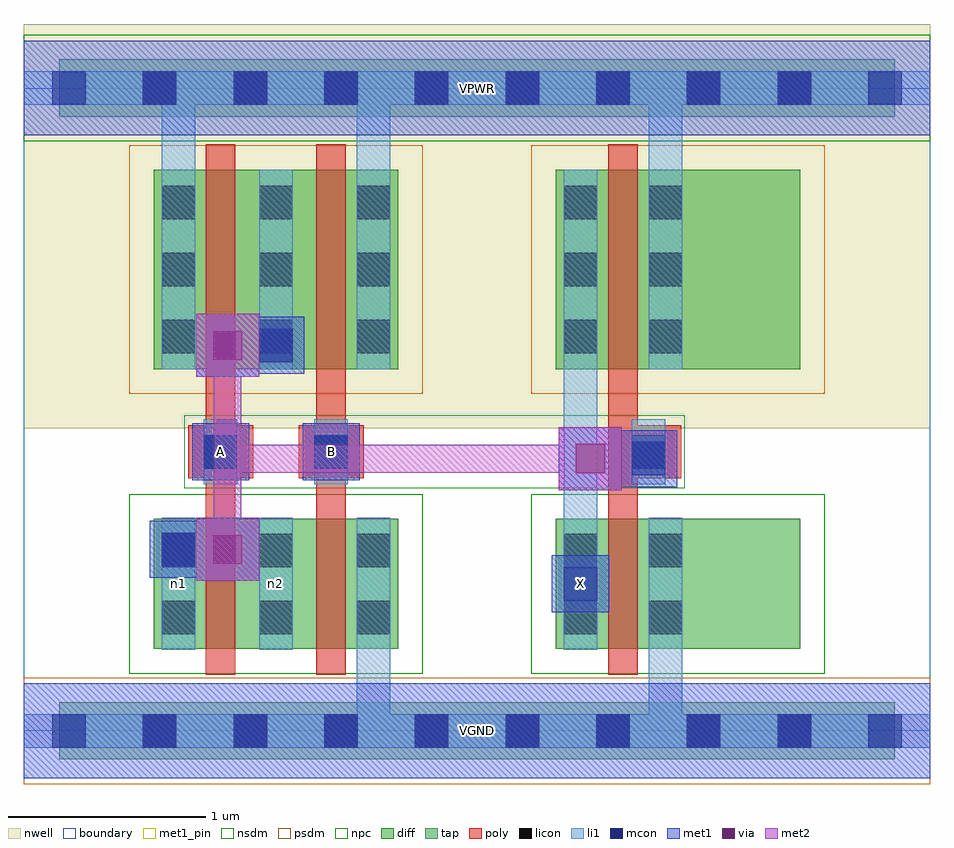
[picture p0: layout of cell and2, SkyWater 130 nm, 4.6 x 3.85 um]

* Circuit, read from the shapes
.subckt and2 A B VGND VPWR X n1 n2
XM1 n2 A n1 VGND sky130_fd_pr__nfet_01v8 w=0.66 l=0.15
XM2 VGND B n2 VGND sky130_fd_pr__nfet_01v8 w=0.66 l=0.15
XM3 VGND n1 X VGND sky130_fd_pr__nfet_01v8 w=0.66 l=0.15
XM4 n1 A VPWR VPWR sky130_fd_pr__pfet_01v8 w=1.01 l=0.15
XM5 VPWR B n1 VPWR sky130_fd_pr__pfet_01v8 w=1.01 l=0.15
XM6 VPWR n1 X VPWR sky130_fd_pr__pfet_01v8 w=1.01 l=0.15
.ends

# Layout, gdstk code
import gdstk
lib = gdstk.Library(unit=1e-6, precision=1e-09)
def R(c, l, rs):  # rectangles x0, y0, x1, y1
    for r in rs: c.add(gdstk.rectangle(r[:2], r[2:], *l))
def A(c, l, x, y, w, h, nx, ny, dx, dy):  # array of equal rectangles
    R(c, l, [(x+i*dx, y+j*dy, x+i*dx+w, y+j*dy+h) for i in range(nx) for j in range(ny)])
nwell = (64, 20)
diff = (65, 20)
tap = (65, 44)
poly = (66, 20)
licon = (66, 44)
li1 = (67, 20)
mcon = (67, 44)
met1_pin = (68, 16)
met1 = (68, 20)
via = (68, 44)
met2 = (69, 20)
nsdm = (93, 44)
psdm = (94, 20)
npc = (95, 20)
boundary = (235, 4)

and2 = lib.new_cell('and2')
R(and2, nwell, [(0,1.535,4.6,3.585)])
R(and2, diff, [(0.66,0.415,1.9,1.075), (2.7,0.415,3.94,1.075), (0.66,1.835,1.9,2.845), (2.7,1.835,3.94,2.845)])
R(and2, tap, [(0.18,-0.145,4.42,0.145), (0.18,3.115,4.42,3.405)])
R(and2, poly, [(0.925,0.285,1.075,2.975), (1.485,0.285,1.635,2.975), (2.965,0.285,3.115,2.975), (0.835,1.28,1.165,1.55), (1.395,1.28,1.725,1.55), (3.005,1.28,3.335,1.55)])
A(and2, licon, 0.605, -0.085, 0.17, 0.17, 8, 2, 0.46, 3.26)
A(and2, licon, 0.7, 0.49, 0.17, 0.17, 3, 2, 0.495, 0.34)
A(and2, licon, 0.7, 1.915, 0.17, 0.17, 3, 3, 0.495, 0.34)
A(and2, licon, 2.74, 1.915, 0.17, 0.17, 1, 3, 0, 0.34)
A(and2, licon, 3.17, 1.915, 0.17, 0.17, 1, 3, 0, 0.34)
R(and2, licon, [(2.74,0.49,2.91,0.66), (3.17,0.49,3.34,0.66), (2.74,0.83,2.91,1), (3.17,0.83,3.34,1), (0.915,1.33,1.085,1.5), (1.475,1.33,1.645,1.5), (3.085,1.33,3.255,1.5)])
A(and2, li1, 0.7, 0.41, 0.17, 0.67, 3, 1, 0.495, 0)
A(and2, li1, 0.7, 1.835, 0.17, 1.01, 3, 1, 0.495, 0)
R(and2, li1, [(0,-0.085,4.6,0.085), (1.69,-0.085,1.86,1.08), (3.17,-0.085,3.34,1.08), (2.74,0.41,2.91,1.08), (2.74,0.41,2.91,2.845), (3.17,0.41,3.34,1.08), (0.915,1.25,1.085,1.58), (1.475,1.25,1.645,1.58), (3.085,1.25,3.255,1.58), (0.7,1.835,0.87,3.345), (1.69,1.835,1.86,3.345), (2.74,1.835,2.91,2.845), (3.17,1.835,3.34,2.845), (3.17,1.835,3.34,3.345), (0,3.175,4.6,3.345)])
A(and2, mcon, 0.145, -0.085, 0.17, 0.17, 10, 2, 0.46, 3.26)
R(and2, mcon, [(2.74,0.66,2.91,0.83), (0.7,0.835,0.87,1.005), (3.085,1.295,3.255,1.465), (0.915,1.33,1.085,1.5), (1.475,1.33,1.645,1.5), (1.195,1.87,1.365,2.04)])
R(and2, met1_pin, [(0,-0.24,4.6,0.24), (2.68,0.6,2.97,0.89), (0.855,1.27,1.145,1.56), (1.415,1.27,1.705,1.56), (0,3.02,4.6,3.5)])
R(and2, met1, [(0,-0.24,4.6,0.24), (2.68,0.6,2.97,0.89), (0.875,0.76,1.195,1.08), (0.64,0.775,0.93,1.065), (0.715,0.85,0.99,0.99), (0.85,0.85,1.105,0.99), (2.715,1.22,3.035,1.54), (3.025,1.235,3.315,1.525), (0.855,1.27,1.145,1.56), (1.415,1.27,1.705,1.56), (2.805,1.31,3.06,1.45), (2.92,1.31,3.24,1.45), (0.875,1.795,1.195,2.115), (1.135,1.81,1.425,2.1), (0.965,1.885,1.22,2.025), (1.08,1.885,1.35,2.025), (0,3.02,4.6,3.5)])
R(and2, via, [(0.96,0.845,1.11,0.995), (2.8,1.305,2.95,1.455), (0.96,1.88,1.11,2.03)])
R(and2, met2, [(0.875,0.76,1.195,1.08), (0.965,0.85,1.105,2.025), (2.715,1.22,3.035,1.54), (0.965,1.31,2.945,1.45), (0.875,1.795,1.195,2.115)])
R(and2, nsdm, [(0.535,0.29,2.025,1.2), (2.575,0.29,4.065,1.2), (0,2.99,4.6,3.53)])
R(and2, psdm, [(0,-0.27,4.6,0.27), (0.535,1.71,2.025,2.97), (2.575,1.71,4.065,2.97)])
R(and2, npc, [(0.815,1.23,3.355,1.6)])
R(and2, boundary, [(0,0,4.6,3.26)])
and2.add(gdstk.Label('n1', (0.785,0.745), layer=67, texttype=5))
and2.add(gdstk.Label('n2', (1.28,0.745), layer=67, texttype=5))
and2.add(gdstk.Label('A', (1,1.415), layer=68, texttype=5))
and2.add(gdstk.Label('B', (1.56,1.415), layer=68, texttype=5))
and2.add(gdstk.Label('X', (2.825,0.745), layer=68, texttype=5))
and2.add(gdstk.Label('VPWR', (2.3,3.26), layer=68, texttype=5))
and2.add(gdstk.Label('VGND', (2.3,0), layer=68, texttype=5))
and2.add(gdstk.Label('A', (1,1.415), layer=68, texttype=16))
and2.add(gdstk.Label('B', (1.56,1.415), layer=68, texttype=16))
and2.add(gdstk.Label('X', (2.825,0.745), layer=68, texttype=16))
and2.add(gdstk.Label('VPWR', (2.3,3.26), layer=68, texttype=16))
and2.add(gdstk.Label('VGND', (2.3,0), layer=68, texttype=16))

lib.write_gds('and2.gds')
